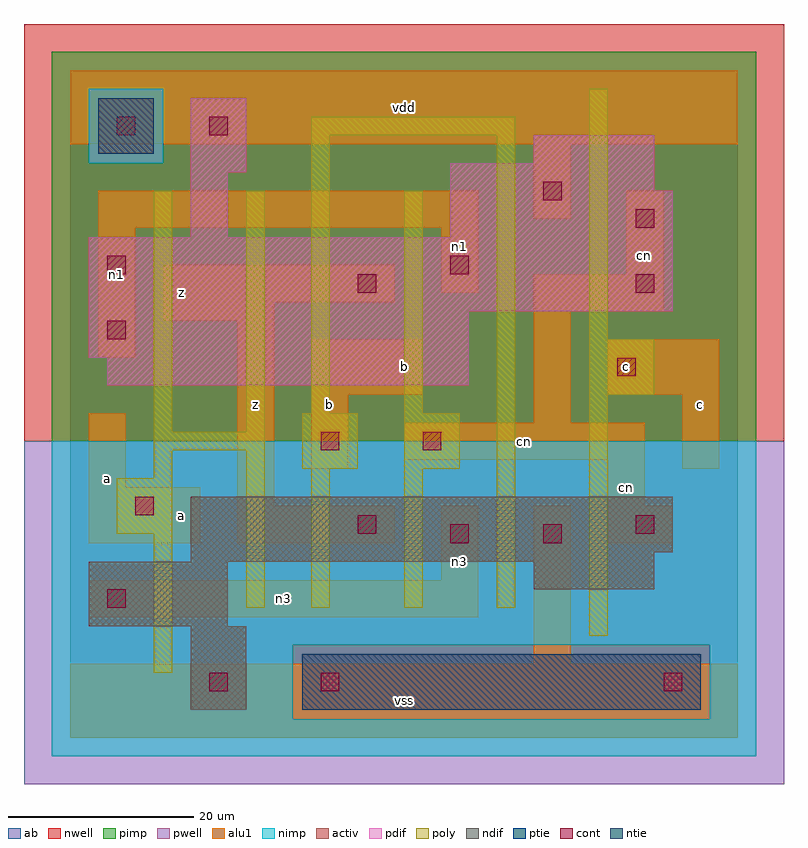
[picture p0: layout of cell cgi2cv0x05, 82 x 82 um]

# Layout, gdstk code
import gdstk
lib = gdstk.Library(unit=1e-6, precision=1e-09)
def R(c, l, rs):  # rectangles x0, y0, x1, y1
    for r in rs: c.add(gdstk.rectangle(r[:2], r[2:], *l))
ndif = (3, 0)
pdif = (4, 0)
ntie = (5, 0)
ptie = (6, 0)
cont = (25, 0)
pwell = (41, 0)
nwell = (42, 0)
activ = (43, 0)
pimp = (44, 0)
nimp = (45, 0)
poly = (46, 0)
alu1 = (49, 0)
ab = (63, 0)

cgi2cv0x05 = lib.new_cell('cgi2cv0x05')
R(cgi2cv0x05, ndif, [(13,3,19,12), (2,12,17,19), (50,16,63,19), (13,19,63,20), (13,20,65,26)])
R(cgi2cv0x05, pdif, [(4,38,43,41), (2,41,43,46), (2,46,65,54), (13,54,17,61), (41,54,65,59), (41,59,63,62), (13,61,19,69), (50,62,63,65)])
R(cgi2cv0x05, ntie, [(3,63,9,69)])
R(cgi2cv0x05, ptie, [(25,3,68,9)])
R(cgi2cv0x05, cont, [(15,5,17,7), (27,5,29,7), (64,5,66,7), (4,14,6,16), (41,21,43,23), (51,21,53,23), (31,22,33,24), (61,22,63,24), (7,24,9,26), (27,31,29,33), (38,31,40,33), (59,39,61,41), (4,43,6,45), (31,48,33,50), (61,48,63,50), (4,50,6,52), (41,50,43,52), (61,55,63,57), (51,58,53,60), (5,65,7,67), (15,65,17,67)])
R(cgi2cv0x05, pwell, [(-5,-5,77,32)])
R(cgi2cv0x05, nwell, [(-5,32,77,77)])
R(cgi2cv0x05, activ, [(13,3,19,12), (25,3,68,9), (2,12,17,19), (50,16,63,19), (13,19,63,20), (13,20,65,26), (4,38,43,41), (2,41,43,46), (2,46,65,54), (13,54,17,61), (41,54,65,59), (41,59,63,62), (13,61,19,69), (50,62,63,65), (3,63,9,69)])
R(cgi2cv0x05, pimp, [(24,2,69,10), (-2,32,74,62), (-2,62,2,70), (10,62,74,70), (-2,70,74,74)])
R(cgi2cv0x05, nimp, [(-2,-2,74,2), (-2,2,24,10), (69,2,74,10), (-2,10,74,32), (2,62,10,70)])
R(cgi2cv0x05, poly, [(9,7,11,22), (56,11,58,37), (19,14,21,31), (26,14,28,29), (36,14,38,29), (46,14,48,65), (5,22,11,28), (9,28,11,31), (25,29,31,35), (36,29,42,35), (9,31,21,33), (9,33,11,59), (19,33,21,59), (26,35,28,65), (36,35,38,59), (56,37,63,43), (56,43,58,70), (26,65,48,67)])
R(cgi2cv0x05, alu1, [(0,0,72,8), (50,8,54,25), (2,13,44,17), (40,17,44,25), (2,21,14,27), (18,21,35,25), (58,21,65,25), (18,25,22,45), (58,25,62,30), (2,27,6,35), (26,29,30,37), (66,29,70,37), (36,30,62,34), (50,34,54,46), (26,37,38,43), (58,37,70,43), (3,41,7,55), (10,45,22,47), (50,46,64,50), (10,47,35,51), (40,48,44,55), (60,50,64,59), (3,55,44,59), (50,56,54,64), (0,64,72,72)])
R(cgi2cv0x05, ab, [(0,0,72,72)])
cgi2cv0x05.add(gdstk.Label('n1', (5,50), layer=49, texttype=0))
cgi2cv0x05.add(gdstk.Label('n3', (23,15), layer=49, texttype=0))
cgi2cv0x05.add(gdstk.Label('n3', (42,19), layer=49, texttype=0))
cgi2cv0x05.add(gdstk.Label('n1', (42,53), layer=49, texttype=0))
cgi2cv0x05.add(gdstk.Label('cn', (49,32), layer=49, texttype=0))
cgi2cv0x05.add(gdstk.Label('cn', (60,27), layer=49, texttype=0))
cgi2cv0x05.add(gdstk.Label('cn', (62,52), layer=49, texttype=0))
cgi2cv0x05.add(gdstk.Label('a', (4,28), layer=49, texttype=0))
cgi2cv0x05.add(gdstk.Label('a', (12,24), layer=49, texttype=0))
cgi2cv0x05.add(gdstk.Label('z', (12,48), layer=49, texttype=0))
cgi2cv0x05.add(gdstk.Label('b', (28,36), layer=49, texttype=0))
cgi2cv0x05.add(gdstk.Label('z', (20,36), layer=49, texttype=0))
cgi2cv0x05.add(gdstk.Label('vss', (36,4), layer=49, texttype=0))
cgi2cv0x05.add(gdstk.Label('b', (36,40), layer=49, texttype=0))
cgi2cv0x05.add(gdstk.Label('vdd', (36,68), layer=49, texttype=0))
cgi2cv0x05.add(gdstk.Label('c', (68,36), layer=49, texttype=0))
cgi2cv0x05.add(gdstk.Label('c', (60,40), layer=49, texttype=0))

lib.write_gds('cgi2cv0x05.gds')
